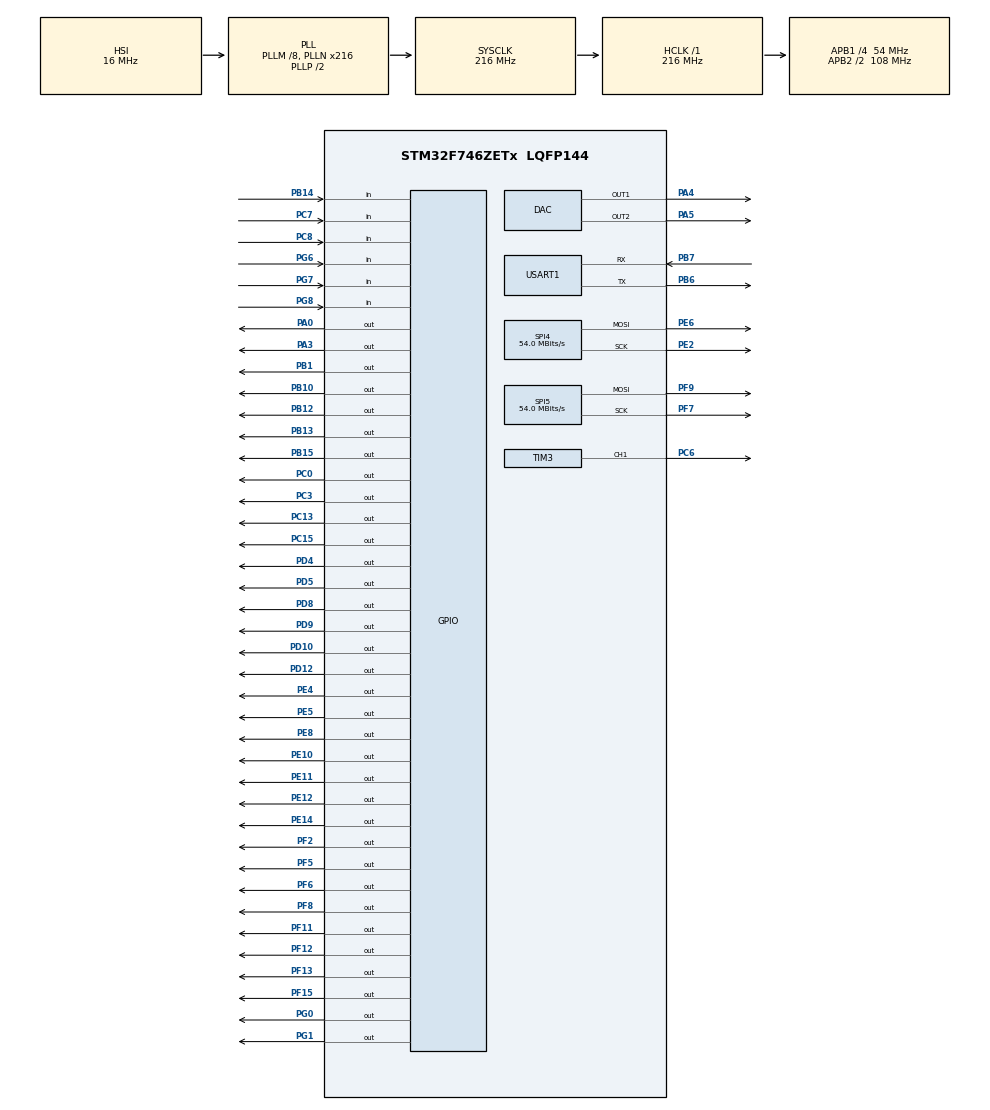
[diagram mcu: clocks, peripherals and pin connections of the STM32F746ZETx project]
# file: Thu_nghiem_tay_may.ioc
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Mcu.Family=STM32F7
Mcu.Name=STM32F746ZETx
Mcu.Package=LQFP144
NVIC.PriorityGroup=NVIC_PRIORITYGROUP_4
NVIC.TIM1_TRG_COM_TIM11_IRQn=true\:0\:0\:false\:false\:true\:true\:true\:true
NVIC.TIM1_UP_TIM10_IRQn=true\:0\:0\:false\:false\:true\:true\:true\:true
NVIC.TIM2_IRQn=true\:0\:0\:false\:false\:true\:true\:true\:true
NVIC.TIM3_IRQn=true\:0\:0\:false\:false\:true\:true\:true\:true
NVIC.TIM7_IRQn=true\:0\:0\:false\:false\:true\:true\:true\:true
NVIC.TIM8_TRG_COM_TIM14_IRQn=true\:0\:0\:false\:false\:true\:true\:true\:true
NVIC.TIM8_UP_TIM13_IRQn=true\:0\:0\:false\:false\:true\:true\:true\:true
NVIC.USART1_IRQn=true\:0\:0\:false\:false\:true\:true\:true\:true
PA0/WKUP.Signal=GPIO_Output
PA13.Mode=Serial_Wire
PA13.Signal=SYS_JTMS-SWDIO
PA14.Mode=Serial_Wire
PA14.Signal=SYS_JTCK-SWCLK
PA3.Signal=GPIO_Output
PA4.Signal=COMP_DAC1_group
PA5.Signal=COMP_DAC2_group
PB1.Signal=GPIO_Output
PB10.Signal=GPIO_Output
PB12.Signal=GPIO_Output
PB13.Signal=GPIO_Output
PB14.Signal=GPIO_Input
PB15.Signal=GPIO_Output
PB6.Mode=Asynchronous
PB6.Signal=USART1_TX
PB7.Mode=Asynchronous
PB7.Signal=USART1_RX
PC0.Signal=GPIO_Output
PC13.Signal=GPIO_Output
PC15/OSC32_OUT.Signal=GPIO_Output
PC3.Signal=GPIO_Output
PC6.Signal=S_TIM3_CH1
PC7.GPIO_PuPd=GPIO_PULLUP
PC7.Signal=GPIO_Input
PC8.GPIO_PuPd=GPIO_PULLUP
PC8.Signal=GPIO_Input
PD10.Signal=GPIO_Output
PD12.Signal=GPIO_Output
PD4.Signal=GPIO_Output
PD5.Signal=GPIO_Output
PD8.Signal=GPIO_Output
PD9.Signal=GPIO_Output
PE10.Signal=GPIO_Output
PE11.Signal=GPIO_Output
PE12.Signal=GPIO_Output
PE14.Signal=GPIO_Output
PE2.Mode=TX_Only_Simplex_Unidirect_Master
PE2.Signal=SPI4_SCK
PE4.PinState=GPIO_PIN_SET
PE4.Signal=GPIO_Output
PE5.PinState=GPIO_PIN_SET
PE5.Signal=GPIO_Output
PE6.Mode=TX_Only_Simplex_Unidirect_Master
PE6.Signal=SPI4_MOSI
PE8.Signal=GPIO_Output
PF11.Signal=GPIO_Output
PF12.Signal=GPIO_Output
PF13.Signal=GPIO_Output
PF15.Signal=GPIO_Output
PF2.Signal=GPIO_Output
PF5.Signal=GPIO_Output
PF6.PinState=GPIO_PIN_SET
PF6.Signal=GPIO_Output
PF7.Mode=TX_Only_Simplex_Unidirect_Master
PF7.Signal=SPI5_SCK
PF8.PinState=GPIO_PIN_SET
PF8.Signal=GPIO_Output
PF9.Mode=TX_Only_Simplex_Unidirect_Master
PF9.Signal=SPI5_MOSI
PG0.Signal=GPIO_Output
PG1.Signal=GPIO_Output
PG6.GPIO_PuPd=GPIO_PULLUP
PG6.Signal=GPIO_Input
PG7.GPIO_PuPd=GPIO_PULLUP
PG7.Signal=GPIO_Input
PG8.GPIO_PuPd=GPIO_PULLUP
PG8.Signal=GPIO_Input
PH0/OSC_IN.Mode=HSE-External-Oscillator
PH0/OSC_IN.Signal=RCC_OSC_IN
PH1/OSC_OUT.Mode=HSE-External-Oscillator
PH1/OSC_OUT.Signal=RCC_OSC_OUT
ProjectManager.HeapSize=0x200
ProjectManager.StackSize=0x400
ProjectManager.TargetToolchain=MDK-ARM V5
RCC.AHBFreq_Value=216000000
RCC.APB1CLKDivider=RCC_HCLK_DIV4
RCC.APB1Freq_Value=54000000
RCC.APB1TimFreq_Value=108000000
RCC.APB2CLKDivider=RCC_HCLK_DIV2
RCC.APB2Freq_Value=108000000
RCC.APB2TimFreq_Value=216000000
RCC.CortexFreq_Value=216000000
RCC.HCLKFreq_Value=216000000
RCC.HSE_VALUE=25000000
RCC.HSI_VALUE=16000000
RCC.LSE_VALUE=32768
RCC.PLLM=8
RCC.PLLN=216
RCC.SYSCLKFreq_VALUE=216000000
RCC.SYSCLKSource=RCC_SYSCLKSOURCE_PLLCLK
RCC.USBFreq_Value=216000000
RCC.VCOOutputFreq_Value=432000000
SH.COMP_DAC1_group.0=DAC_OUT1,DAC_OUT1
SH.COMP_DAC2_group.0=DAC_OUT2,DAC_OUT2
SH.S_TIM3_CH1.0=TIM3_CH1,PWM Generation1 CH1
SPI4.CalculateBaudRate=54.0 MBits/s
SPI4.DataSize=SPI_DATASIZE_16BIT
SPI4.Direction=SPI_DIRECTION_2LINES
SPI4.Mode=SPI_MODE_MASTER
SPI4.VirtualType=VM_MASTER
SPI5.CalculateBaudRate=54.0 MBits/s
SPI5.DataSize=SPI_DATASIZE_16BIT
SPI5.Direction=SPI_DIRECTION_2LINES
SPI5.Mode=SPI_MODE_MASTER
SPI5.VirtualType=VM_MASTER
TIM10.Prescaler=72-1
TIM11.Prescaler=72-1
TIM13.Prescaler=72-1
TIM14.Prescaler=72-1
TIM2.Period=65535
TIM2.Prescaler=72-1
TIM3.Channel-PWM\ Generation1\ CH1=TIM_CHANNEL_1
TIM3.Period=1000-1
TIM3.Prescaler=2160-1
TIM6.Period=65535
TIM6.Prescaler=215
TIM7.Prescaler=72-1
USART1.VirtualMode-Asynchronous=VM_ASYNC
VP_TIM10_VS_ClockSourceINT.Mode=Enable_Timer
VP_TIM11_VS_ClockSourceINT.Mode=Enable_Timer
VP_TIM13_VS_ClockSourceINT.Mode=Enable_Timer
VP_TIM14_VS_ClockSourceINT.Mode=Enable_Timer
VP_TIM2_VS_ClockSourceINT.Mode=Internal
VP_TIM3_VS_ClockSourceINT.Mode=Internal
VP_TIM6_VS_ClockSourceINT.Mode=Enable_Timer
VP_TIM7_VS_ClockSourceINT.Mode=Enable_Timer
board=custom

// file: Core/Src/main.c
/* USER CODE BEGIN Header */
/**
  ******************************************************************************
  * @file           : main.c
  * @brief          : Main program body
  ******************************************************************************
  * @attention
  *
  * Copyright (c) 2022 STMicroelectronics.
  * All rights reserved.
  *
  * This software is licensed under terms that can be found in the LICENSE file
  * in the root directory of this software component.
  * If no LICENSE file comes with this software, it is provided AS-IS.
  *
  ******************************************************************************
  */
/* USER CODE END Header */
#include "main.h"

/* USER CODE BEGIN Includes */
#include "Step_motor.h"
#include "UART.h"
#include "Invert_Kinematic.h"
/* USER CODE END Includes */

DAC_HandleTypeDef hdac;

SPI_HandleTypeDef hspi4;
SPI_HandleTypeDef hspi5;

TIM_HandleTypeDef htim2;
TIM_HandleTypeDef htim3;
TIM_HandleTypeDef htim6;
TIM_HandleTypeDef htim7;
TIM_HandleTypeDef htim10;
TIM_HandleTypeDef htim11;
TIM_HandleTypeDef htim13;
TIM_HandleTypeDef htim14;

UART_HandleTypeDef huart1;

void SystemClock_Config(void);
static void MX_GPIO_Init(void);
static void MX_DAC_Init(void);
static void MX_TIM2_Init(void);
static void MX_TIM6_Init(void);
static void MX_TIM7_Init(void);
static void MX_TIM10_Init(void);
static void MX_TIM11_Init(void);
static void MX_TIM13_Init(void);
static void MX_TIM14_Init(void);
static void MX_SPI4_Init(void);
static void MX_SPI5_Init(void);
static void MX_USART1_UART_Init(void);
static void MX_TIM3_Init(void);

/* USER CODE BEGIN 0 */
extern Uart1 pUart;
extern float T06[4][4];
extern float TCV[4][4] ;      // ma tran vi trí cua vat so voi camera
extern float T6C[4][4] ;    // ma tran dông nhat c?a camera so voi khop 6
extern float T0V[4][4];     // ma tran dông nhat cua vat so voi goc toa dô
extern float T6V[4][4] ;
extern Robot pRobot;
extern Motion mProfile[10];
extern Stepper StepVar[6];
extern void delay_us(uint16_t cnt);
void HAL_UART_RxCpltCallback(UART_HandleTypeDef *huart){
	if(huart->Instance == huart1.Instance){
	   Uart_Read(&pUart,&huart1);
		if(pUart.state == Process)
		{
				for(int i =0 ; i < 4; i++){
        for(int j =0 ; j < 3; j++){
           if( i ==j)
       TCV[i][j] = 1;
           else
	    TCV[i][j] = 0;
				 }
			 }
			int8_t bien1,bien2,bien3;
      bien1     =  (pUart.Rx_buff[10]  <<8 ) + pUart.Rx_buff[9];
      bien2     =  (pUart.Rx_buff[12] <<8 ) + pUart.Rx_buff[11];
			bien3     =  (pUart.Rx_buff[14] <<8 ) + pUart.Rx_buff[13];
			TCV[0][3] = ((float)bien1/1000);
			TCV[1][3] = ((float)bien2/1000);
			TCV[2][3] = ((float)bien3/1000);
			TCV[3][3] = 1;
			pUart.Flag = 1;
			pUart.Pointer = 0;
			for(int i =0 ; i<16 ; i++){
				pUart.Rx_buff[i] = 0;}
		}
		HAL_UART_Receive_IT(&huart1,(uint8_t *)&pUart.Rx_data,1);
		}
}
void HAL_TIM_PeriodElapsedCallback(TIM_HandleTypeDef *htim){
   if(htim->Instance == htim2.Instance)
	{
		if(StepVar[M1].state == stRUN)
		{
	    Stepper_Control(M1,&htim2);
		}
	}
	if(htim->Instance == htim7.Instance)
	{
		if(StepVar[M2].state == stRUN)
		{
	    Stepper_Control(M2,&htim7);
		}
	}
	if(htim->Instance == htim10.Instance)
	{
		if(StepVar[M3].state == stRUN)
		{
	    Stepper_Control(M3,&htim10);
		}
	}
	if(htim->Instance == htim11.Instance)
	{
		if(StepVar[M4].state == stRUN)
		{
	    Stepper_Control(M4,&htim11);
		}
	}
	if(htim->Instance == htim13.Instance)
	{
		if(StepVar[M5].state == stRUN)
		{
	    Stepper_Control(M5,&htim13);
		}
	}
	if(htim->Instance == htim14.Instance)
	{
		if(StepVar[M6].state == stRUN)
		{
	    Stepper_Control(M6,&htim14);
		}
		}
}
/* USER CODE END 0 */

int main(void)
{

  /* MCU Configuration--------------------------------------------------------*/

  /* Reset of all peripherals, Initializes the Flash interface and the Systick. */
  HAL_Init();

  /* Configure the system clock */
  SystemClock_Config();

  /* Initialize all configured peripherals */
  MX_GPIO_Init();
  MX_DAC_Init();
  MX_TIM2_Init();
  MX_TIM6_Init();
  MX_TIM7_Init();
  MX_TIM10_Init();
  MX_TIM11_Init();
  MX_TIM13_Init();
  MX_TIM14_Init();
  MX_SPI4_Init();
  MX_SPI5_Init();
  MX_USART1_UART_Init();
  MX_TIM3_Init();
  /* USER CODE BEGIN 2 */
   HAL_TIM_Base_Start_IT(&htim2);
	 HAL_TIM_Base_Start_IT(&htim7);
	 HAL_TIM_Base_Start_IT(&htim10);
	 HAL_TIM_Base_Start_IT(&htim11);
	 HAL_TIM_Base_Start_IT(&htim13);
	 HAL_TIM_Base_Start_IT(&htim14);
	 HAL_TIM_Base_Start(&htim6);
	 HAL_TIM_PWM_Start(&htim3,TIM_CHANNEL_1);
	 HAL_DAC_Start(&hdac,DAC_CHANNEL_1);
   HAL_DAC_Start(&hdac,DAC_CHANNEL_2);

	 HAL_UART_Receive_IT(&huart1,(uint8_t *)&pUart.Rx_data,1);
	 Uart_Init(&pUart);
	 Robot_Init(&pRobot);
//   Stepper_Init(1.8,Micro_1_32,mPOSITION,3,M1);
//   Stepper_Init(1.8,Micro_1_32,mPOSITION,50,M2);
//   Stepper_Init(1.8,Micro_1_32,mPOSITION,50,M3);
//   Stepper_Init(1.8,Micro_1_32,mPOSITION,14,M4);
//   Stepper_Init(1.8,Micro_1_32,mPOSITION,40.2,M5);
//   Stepper_Init(1.8,Micro_1_32,mPOSITION,1,M6);
Stepper_Init(1.8,Micro_1_32,mPOSITION,50,M1);        //dco2
Stepper_Init(1.8,Micro_1_32,mPOSITION,50,M2);        //dco3
Stepper_Init(1.8,Micro_1_32,mPOSITION,1,M3);
Stepper_Init(1.8,Micro_1_32,mPOSITION,14,M4);        //dco4
Stepper_Init(1.8,Micro_1_32,mPOSITION,1,M5);       //dco5  50
Stepper_Init(1.8,Micro_1_32,mPOSITION,3,M6);   // dco1

//MotionProfile_Set(M1,50,50,300,133);  //10,10,30,-90,1.2,1     -120
//Motor_run(M1);

//////////// ***STEP2***/
//MotionProfile_Set(M2,50,50,170,86);   // 20 de ve vi tri //
//Motor_run(M2);

//////// ***STEP3***/
////////
MotionProfile_Set(M3,50,50,20,90);
Motor_run(M3);

//////// ***STEP4***/
////////
//MotionProfile_Set(M4,10,10,50,90);
//Motor_run(M4);

////// // ***STEP5***/
MotionProfile_Set(M5,10,10,30,90);    //
Motor_run(M5);

//////// ***STEP6***/
//MotionProfile_Set(M6,50,50,40,96);   //10,10,50,-183,2,1.5
//Motor_run(M6);

  /* USER CODE END 2 */

  /* Infinite loop */
  while (1)
  {

    /* USER CODE BEGIN 3 */
	//	HAL_GPIO_WritePin(GPIOD,GPIO_PIN_4,1);

//  if( pUart.Flag == 0x01)
//	{
//
//		MatrixMultiply(TCV,T6C,T6V);
//		MatrixMultiply(T6V,T06,T0V);
//		Invert_Kinematic(&pRobot);
//		Convert_Angle(&pRobot);
//		for(int i = M1 ; i<= M6; i++)
//		{
//			if(pRobot.Q[i]>1000)
//				pRobot.Q[i] = 0;
//			MotionProfile_Set(i,10,10,200,pRobot.Q[i]);
//      Motor_run(i);
//		}
//		pUart.state = Ready;
//		pUart.Flag = 0;
//	}
//if(StepVar[M1].count == 1 && StepVar[M1].PosFlag ==1 && StepVar[M2].PosFlag ==1 &&StepVar[M2].count == 1&& StepVar[M4].PosFlag ==1 &&StepVar[M4].count == 1
//&& StepVar[M5].PosFlag ==1 &&StepVar[M5].count == 1&& StepVar[M6].PosFlag ==1 &&StepVar[M6].count == 1){
//		HAL_GPIO_WritePin(GPIOD,GPIO_PIN_4,1);
//htim3.Instance->CCR1 = 35;  // 0do
//HAL_Delay(5000);
//htim3.Instance->CCR1 = 112; // 120 do
//HAL_Delay(1000);
//MotionProfile_Set(M1,50,50,-300,-133);
//Motor_run(M1);
//MotionProfile_Set(M2,50,50,-170,90);
//Motor_run(M2);
//MotionProfile_Set(M4,10,10,-50,-94);
//Motor_run(M4);
//MotionProfile_Set(M5,10,10,-30,5);
//Motor_run(M5);
//MotionProfile_Set(M6,50,50,-50,96);
//Motor_run(M6);
//	}
//}

if( pUart.Flag == 0x01){

	 MotionProfile_Set(M1,50,50,300,-133);  //10,10,30,-90,1.2,1     -120
 Stepper_StateRst(M1);
 MotionVar_Prepare(M1);
 Stepper_Start(M1,&htim2);

////////// ***STEP2***/
MotionProfile_Set(M2,50,50,170,86);   // 20 de ve vi tri //
Stepper_StateRst(M2);
MotionVar_Prepare(M2);
Stepper_Start(M2,&htim7);

////// ***STEP3***/
//////
 MotionProfile_Set(M3,50,50,1,93);
 Stepper_StateRst(M3);
 MotionVar_Prepare(M3);
 Stepper_Start(M3,&htim10);

////// ***STEP4***/
//////
 MotionProfile_Set(M4,10,10,50,1);
 Stepper_StateRst(M4);
 MotionVar_Prepare(M4);
 Stepper_Start(M4,&htim11);

//// // ***STEP5***/
// MotionProfile_Set(M5,10,10,30,5,1.5,1);    //
// Stepper_StateRst(M5);
// MotionVar_Prepare(M5);
// Stepper_Start(M5,&htim13);

////// ***STEP6***/
 MotionProfile_Set(M6,50,50,40,96);   //10,10,50,-183,2,1.5
 Stepper_StateRst(M6);
 MotionVar_Prepare(M6);
 Stepper_Start(M6,&htim14);
htim3.Instance->CCR1 = 112;
 pUart.Flag = 0x00;
}

//if(StepVar[M1].count == 1 && StepVar[M1].PosFlag ==1 && StepVar[M2].PosFlag ==1 &&StepVar[M2].count == 1
//&&StepVar[M6].PosFlag ==1 &&StepVar[M6].count == 1){
//htim3.Instance->CCR1 = 35;  // 0do
//HAL_Delay(3000);
////htim3.Instance->CCR1 = 75;  // 90 do
////HAL_Delay(1000);
//	reset(M1);
//// MotionProfile_Set(M1,50,50,300,133,1.5,2);  //10,10,30,-90,1.2,1     -120
//// Stepper_StateRst(M1);
//// MotionVar_Prepare(M1);
//// Stepper_Start(M1,&htim2);
// MotionProfile_Set(M1,50,50,300,30);  //10,10,30,-90,1.2,1     -120
// Stepper_StateRst(M1);
// MotionVar_Prepare(M1);
// Stepper_Start(M1,&htim2);

//////// ***STEP2***/
////	reset(M2);
////MotionProfile_Set(M2,50,50,170,-70,2.4,2.4);   // 20 de ve vi tri //
////Stepper_StateRst(M2);
////MotionVar_Prepare(M2);
////Stepper_Start(M2,&htim7);
//
//MotionProfile_Set(M2,50,50,170,-10);   // 20 de ve vi tri //
//Stepper_StateRst(M2);
//MotionVar_Prepare(M2);
//Stepper_Start(M2,&htim7);

//	reset(M6);
//MotionProfile_Set(M6,20,20,40,-186);   //10,10,50,-183,2,1.5
// Stepper_StateRst(M6);
// MotionVar_Prepare(M6);
// Stepper_Start(M6,&htim14);
//}
//if(StepVar[M1].count == 2 && StepVar[M1].PosFlag ==1 && StepVar[M2].PosFlag ==1 &&StepVar[M2].count == 2&&StepVar[M6].count == 2 && StepVar[M6].PosFlag ==1
//){
//	HAL_Delay(2000);
//	htim3.Instance->CCR1 = 112; // 180 do
//	HAL_Delay(2000);
//	htim3.Instance->CCR1 = 35;  //0 do
//	HAL_Delay(1000);
//	reset(M1);
//	MotionProfile_Set(M1,50,50,300,96);  //10,10,30,-90,1.2,1     -120
// Stepper_StateRst(M1);
// MotionVar_Prepare(M1);
// Stepper_Start(M1,&htim2);
//
//	reset(M2);
// MotionProfile_Set(M2,50,50,170,-65);   // 20 de ve vi tri //
//Stepper_StateRst(M2);
//MotionVar_Prepare(M2);
//Stepper_Start(M2,&htim7);
//	reset(M6);
// MotionProfile_Set(M6,20,20,30,77);   //10,10,50,-183,2,1.5
// Stepper_StateRst(M6);
// MotionVar_Prepare(M6);
// Stepper_Start(M6,&htim14);
//}
  /* USER CODE END 3 */
}
}
void SystemClock_Config(void)
{
  RCC_OscInitTypeDef RCC_OscInitStruct = {0};
  RCC_ClkInitTypeDef RCC_ClkInitStruct = {0};

  /** Configure the main internal regulator output voltage
  */
  __HAL_RCC_PWR_CLK_ENABLE();
  __HAL_PWR_VOLTAGESCALING_CONFIG(PWR_REGULATOR_VOLTAGE_SCALE1);

  /** Initializes the RCC Oscillators according to the specified parameters
  * in the RCC_OscInitTypeDef structure.
  */
  RCC_OscInitStruct.OscillatorType = RCC_OSCILLATORTYPE_HSI;
  RCC_OscInitStruct.HSIState = RCC_HSI_ON;
  RCC_OscInitStruct.HSICalibrationValue = RCC_HSICALIBRATION_DEFAULT;
  RCC_OscInitStruct.PLL.PLLState = RCC_PLL_ON;
  RCC_OscInitStruct.PLL.PLLSource = RCC_PLLSOURCE_HSI;
  RCC_OscInitStruct.PLL.PLLM = 8;
  RCC_OscInitStruct.PLL.PLLN = 216;
  RCC_OscInitStruct.PLL.PLLP = RCC_PLLP_DIV2;
  RCC_OscInitStruct.PLL.PLLQ = 2;
  if (HAL_RCC_OscConfig(&RCC_OscInitStruct) != HAL_OK)
  {
    Error_Handler();
  }

  /** Activate the Over-Drive mode
  */
  if (HAL_PWREx_EnableOverDrive() != HAL_OK)
  {
    Error_Handler();
  }

  /** Initializes the CPU, AHB and APB buses clocks
  */
  RCC_ClkInitStruct.ClockType = RCC_CLOCKTYPE_HCLK|RCC_CLOCKTYPE_SYSCLK
                              |RCC_CLOCKTYPE_PCLK1|RCC_CLOCKTYPE_PCLK2;
  RCC_ClkInitStruct.SYSCLKSource = RCC_SYSCLKSOURCE_PLLCLK;
  RCC_ClkInitStruct.AHBCLKDivider = RCC_SYSCLK_DIV1;
  RCC_ClkInitStruct.APB1CLKDivider = RCC_HCLK_DIV4;
  RCC_ClkInitStruct.APB2CLKDivider = RCC_HCLK_DIV2;

  if (HAL_RCC_ClockConfig(&RCC_ClkInitStruct, FLASH_LATENCY_7) != HAL_OK)
  {
    Error_Handler();
  }
}

static void MX_DAC_Init(void)
{

  DAC_ChannelConfTypeDef sConfig = {0};

  /** DAC Initialization
  */
  hdac.Instance = DAC;
  if (HAL_DAC_Init(&hdac) != HAL_OK)
  {
    Error_Handler();
  }

  /** DAC channel OUT1 config
  */
  sConfig.DAC_Trigger = DAC_TRIGGER_NONE;
  sConfig.DAC_OutputBuffer = DAC_OUTPUTBUFFER_ENABLE;
  if (HAL_DAC_ConfigChannel(&hdac, &sConfig, DAC_CHANNEL_1) != HAL_OK)
  {
    Error_Handler();
  }

  /** DAC channel OUT2 config
  */
  if (HAL_DAC_ConfigChannel(&hdac, &sConfig, DAC_CHANNEL_2) != HAL_OK)
  {
    Error_Handler();
  }

}

static void MX_SPI4_Init(void)
{

  /* SPI4 parameter configuration*/
  hspi4.Instance = SPI4;
  hspi4.Init.Mode = SPI_MODE_MASTER;
  hspi4.Init.Direction = SPI_DIRECTION_2LINES;
  hspi4.Init.DataSize = SPI_DATASIZE_16BIT;
  hspi4.Init.CLKPolarity = SPI_POLARITY_LOW;
  hspi4.Init.CLKPhase = SPI_PHASE_1EDGE;
  hspi4.Init.NSS = SPI_NSS_SOFT;
  hspi4.Init.BaudRatePrescaler = SPI_BAUDRATEPRESCALER_2;
  hspi4.Init.FirstBit = SPI_FIRSTBIT_MSB;
  hspi4.Init.TIMode = SPI_TIMODE_DISABLE;
  hspi4.Init.CRCCalculation = SPI_CRCCALCULATION_DISABLE;
  hspi4.Init.CRCPolynomial = 7;
  hspi4.Init.CRCLength = SPI_CRC_LENGTH_DATASIZE;
  hspi4.Init.NSSPMode = SPI_NSS_PULSE_ENABLE;
  if (HAL_SPI_Init(&hspi4) != HAL_OK)
  {
    Error_Handler();
  }

}

static void MX_SPI5_Init(void)
{

  /* SPI5 parameter configuration*/
  hspi5.Instance = SPI5;
  hspi5.Init.Mode = SPI_MODE_MASTER;
  hspi5.Init.Direction = SPI_DIRECTION_2LINES;
  hspi5.Init.DataSize = SPI_DATASIZE_16BIT;
  hspi5.Init.CLKPolarity = SPI_POLARITY_LOW;
  hspi5.Init.CLKPhase = SPI_PHASE_1EDGE;
  hspi5.Init.NSS = SPI_NSS_SOFT;
  hspi5.Init.BaudRatePrescaler = SPI_BAUDRATEPRESCALER_2;
  hspi5.Init.FirstBit = SPI_FIRSTBIT_MSB;
  hspi5.Init.TIMode = SPI_TIMODE_DISABLE;
  hspi5.Init.CRCCalculation = SPI_CRCCALCULATION_DISABLE;
  hspi5.Init.CRCPolynomial = 7;
  hspi5.Init.CRCLength = SPI_CRC_LENGTH_DATASIZE;
  hspi5.Init.NSSPMode = SPI_NSS_PULSE_ENABLE;
  if (HAL_SPI_Init(&hspi5) != HAL_OK)
  {
    Error_Handler();
  }

}

static void MX_TIM2_Init(void)
{

  TIM_ClockConfigTypeDef sClockSourceConfig = {0};
  TIM_MasterConfigTypeDef sMasterConfig = {0};

  htim2.Instance = TIM2;
  htim2.Init.Prescaler = 72-1;
  htim2.Init.CounterMode = TIM_COUNTERMODE_UP;
  htim2.Init.Period = 65535;
  htim2.Init.ClockDivision = TIM_CLOCKDIVISION_DIV1;
  htim2.Init.AutoReloadPreload = TIM_AUTORELOAD_PRELOAD_DISABLE;
  if (HAL_TIM_Base_Init(&htim2) != HAL_OK)
  {
    Error_Handler();
  }
  sClockSourceConfig.ClockSource = TIM_CLOCKSOURCE_INTERNAL;
  if (HAL_TIM_ConfigClockSource(&htim2, &sClockSourceConfig) != HAL_OK)
  {
    Error_Handler();
  }
  sMasterConfig.MasterOutputTrigger = TIM_TRGO_RESET;
  sMasterConfig.MasterSlaveMode = TIM_MASTERSLAVEMODE_DISABLE;
  if (HAL_TIMEx_MasterConfigSynchronization(&htim2, &sMasterConfig) != HAL_OK)
  {
    Error_Handler();
  }

}

static void MX_TIM3_Init(void)
{

  TIM_ClockConfigTypeDef sClockSourceConfig = {0};
  TIM_MasterConfigTypeDef sMasterConfig = {0};
  TIM_OC_InitTypeDef sConfigOC = {0};

  htim3.Instance = TIM3;
  htim3.Init.Prescaler = 2160-1;
  htim3.Init.CounterMode = TIM_COUNTERMODE_UP;
  htim3.Init.Period = 1000-1;
  htim3.Init.ClockDivision = TIM_CLOCKDIVISION_DIV1;
  htim3.Init.AutoReloadPreload = TIM_AUTORELOAD_PRELOAD_DISABLE;
  if (HAL_TIM_Base_Init(&htim3) != HAL_OK)
  {
    Error_Handler();
  }
  sClockSourceConfig.ClockSource = TIM_CLOCKSOURCE_INTERNAL;
  if (HAL_TIM_ConfigClockSource(&htim3, &sClockSourceConfig) != HAL_OK)
  {
    Error_Handler();
  }
  if (HAL_TIM_PWM_Init(&htim3) != HAL_OK)
  {
    Error_Handler();
  }
  sMasterConfig.MasterOutputTrigger = TIM_TRGO_RESET;
  sMasterConfig.MasterSlaveMode = TIM_MASTERSLAVEMODE_DISABLE;
  if (HAL_TIMEx_MasterConfigSynchronization(&htim3, &sMasterConfig) != HAL_OK)
  {
    Error_Handler();
  }
  sConfigOC.OCMode = TIM_OCMODE_PWM1;
  sConfigOC.Pulse = 0;
  sConfigOC.OCPolarity = TIM_OCPOLARITY_HIGH;
  sConfigOC.OCFastMode = TIM_OCFAST_DISABLE;
  if (HAL_TIM_PWM_ConfigChannel(&htim3, &sConfigOC, TIM_CHANNEL_1) != HAL_OK)
  {
    Error_Handler();
  }
  HAL_TIM_MspPostInit(&htim3);

}

static void MX_TIM6_Init(void)
{

  TIM_MasterConfigTypeDef sMasterConfig = {0};

  htim6.Instance = TIM6;
  htim6.Init.Prescaler = 215;
  htim6.Init.CounterMode = TIM_COUNTERMODE_UP;
  htim6.Init.Period = 65535;
  htim6.Init.AutoReloadPreload = TIM_AUTORELOAD_PRELOAD_DISABLE;
  if (HAL_TIM_Base_Init(&htim6) != HAL_OK)
  {
    Error_Handler();
  }
  sMasterConfig.MasterOutputTrigger = TIM_TRGO_RESET;
  sMasterConfig.MasterSlaveMode = TIM_MASTERSLAVEMODE_DISABLE;
  if (HAL_TIMEx_MasterConfigSynchronization(&htim6, &sMasterConfig) != HAL_OK)
  {
    Error_Handler();
  }

}

static void MX_TIM7_Init(void)
{

  TIM_MasterConfigTypeDef sMasterConfig = {0};

  htim7.Instance = TIM7;
  htim7.Init.Prescaler = 72-1;
  htim7.Init.CounterMode = TIM_COUNTERMODE_UP;
  htim7.Init.Period = 65535;
  htim7.Init.AutoReloadPreload = TIM_AUTORELOAD_PRELOAD_DISABLE;
  if (HAL_TIM_Base_Init(&htim7) != HAL_OK)
  {
    Error_Handler();
  }
  sMasterConfig.MasterOutputTrigger = TIM_TRGO_RESET;
  sMasterConfig.MasterSlaveMode = TIM_MASTERSLAVEMODE_DISABLE;
  if (HAL_TIMEx_MasterConfigSynchronization(&htim7, &sMasterConfig) != HAL_OK)
  {
    Error_Handler();
  }

}

static void MX_TIM10_Init(void)
{

  htim10.Instance = TIM10;
  htim10.Init.Prescaler = 72-1;
  htim10.Init.CounterMode = TIM_COUNTERMODE_UP;
  htim10.Init.Period = 65535;
  htim10.Init.ClockDivision = TIM_CLOCKDIVISION_DIV1;
  htim10.Init.AutoReloadPreload = TIM_AUTORELOAD_PRELOAD_DISABLE;
  if (HAL_TIM_Base_Init(&htim10) != HAL_OK)
  {
    Error_Handler();
  }

}

static void MX_TIM11_Init(void)
{

  htim11.Instance = TIM11;
  htim11.Init.Prescaler = 72-1;
  htim11.Init.CounterMode = TIM_COUNTERMODE_UP;
  htim11.Init.Period = 65535;
  htim11.Init.ClockDivision = TIM_CLOCKDIVISION_DIV1;
  htim11.Init.AutoReloadPreload = TIM_AUTORELOAD_PRELOAD_DISABLE;
  if (HAL_TIM_Base_Init(&htim11) != HAL_OK)
  {
    Error_Handler();
  }

}

static void MX_TIM13_Init(void)
{

  htim13.Instance = TIM13;
  htim13.Init.Prescaler = 72-1;
  htim13.Init.CounterMode = TIM_COUNTERMODE_UP;
  htim13.Init.Period = 65535;
  htim13.Init.ClockDivision = TIM_CLOCKDIVISION_DIV1;
  htim13.Init.AutoReloadPreload = TIM_AUTORELOAD_PRELOAD_DISABLE;
  if (HAL_TIM_Base_Init(&htim13) != HAL_OK)
  {
    Error_Handler();
  }

}

static void MX_TIM14_Init(void)
{

  htim14.Instance = TIM14;
  htim14.Init.Prescaler = 72-1;
  htim14.Init.CounterMode = TIM_COUNTERMODE_UP;
  htim14.Init.Period = 65535;
  htim14.Init.ClockDivision = TIM_CLOCKDIVISION_DIV1;
  htim14.Init.AutoReloadPreload = TIM_AUTORELOAD_PRELOAD_DISABLE;
  if (HAL_TIM_Base_Init(&htim14) != HAL_OK)
  {
    Error_Handler();
  }

}

static void MX_USART1_UART_Init(void)
{

  huart1.Instance = USART1;
  huart1.Init.BaudRate = 115200;
  huart1.Init.WordLength = UART_WORDLENGTH_8B;
  huart1.Init.StopBits = UART_STOPBITS_1;
  huart1.Init.Parity = UART_PARITY_NONE;
  huart1.Init.Mode = UART_MODE_TX_RX;
  huart1.Init.HwFlowCtl = UART_HWCONTROL_NONE;
  huart1.Init.OverSampling = UART_OVERSAMPLING_16;
  huart1.Init.OneBitSampling = UART_ONE_BIT_SAMPLE_DISABLE;
  huart1.AdvancedInit.AdvFeatureInit = UART_ADVFEATURE_NO_INIT;
  if (HAL_UART_Init(&huart1) != HAL_OK)
  {
    Error_Handler();
  }

}

static void MX_GPIO_Init(void)
{
  GPIO_InitTypeDef GPIO_InitStruct = {0};

  /* GPIO Ports Clock Enable */
  __HAL_RCC_GPIOE_CLK_ENABLE();
  __HAL_RCC_GPIOC_CLK_ENABLE();
  __HAL_RCC_GPIOF_CLK_ENABLE();
  __HAL_RCC_GPIOH_CLK_ENABLE();
  __HAL_RCC_GPIOA_CLK_ENABLE();
  __HAL_RCC_GPIOB_CLK_ENABLE();
  __HAL_RCC_GPIOG_CLK_ENABLE();
  __HAL_RCC_GPIOD_CLK_ENABLE();

  /*Configure GPIO pin Output Level */
  HAL_GPIO_WritePin(GPIOE, GPIO_PIN_4|GPIO_PIN_5, GPIO_PIN_SET);

  /*Configure GPIO pin Output Level */
  HAL_GPIO_WritePin(GPIOC, GPIO_PIN_13|GPIO_PIN_15|GPIO_PIN_0|GPIO_PIN_3, GPIO_PIN_RESET);

  /*Configure GPIO pin Output Level */
  HAL_GPIO_WritePin(GPIOF, GPIO_PIN_2|GPIO_PIN_5|GPIO_PIN_11|GPIO_PIN_12
                          |GPIO_PIN_13|GPIO_PIN_15, GPIO_PIN_RESET);

  /*Configure GPIO pin Output Level */
  HAL_GPIO_WritePin(GPIOF, GPIO_PIN_6|GPIO_PIN_8, GPIO_PIN_SET);

  /*Configure GPIO pin Output Level */
  HAL_GPIO_WritePin(GPIOA, GPIO_PIN_0|GPIO_PIN_3, GPIO_PIN_RESET);

  /*Configure GPIO pin Output Level */
  HAL_GPIO_WritePin(GPIOB, GPIO_PIN_1|GPIO_PIN_10|GPIO_PIN_12|GPIO_PIN_13
                          |GPIO_PIN_15, GPIO_PIN_RESET);

  /*Configure GPIO pin Output Level */
  HAL_GPIO_WritePin(GPIOG, GPIO_PIN_0|GPIO_PIN_1, GPIO_PIN_RESET);

  /*Configure GPIO pin Output Level */
  HAL_GPIO_WritePin(GPIOE, GPIO_PIN_8|GPIO_PIN_10|GPIO_PIN_11|GPIO_PIN_12
                          |GPIO_PIN_14, GPIO_PIN_RESET);

  /*Configure GPIO pin Output Level */
  HAL_GPIO_WritePin(GPIOD, GPIO_PIN_8|GPIO_PIN_9|GPIO_PIN_10|GPIO_PIN_12
                          |GPIO_PIN_4|GPIO_PIN_5, GPIO_PIN_RESET);

  /*Configure GPIO pins : PE4 PE5 PE8 PE10
                           PE11 PE12 PE14 */
  GPIO_InitStruct.Pin = GPIO_PIN_4|GPIO_PIN_5|GPIO_PIN_8|GPIO_PIN_10
                          |GPIO_PIN_11|GPIO_PIN_12|GPIO_PIN_14;
  GPIO_InitStruct.Mode = GPIO_MODE_OUTPUT_PP;
  GPIO_InitStruct.Pull = GPIO_NOPULL;
  GPIO_InitStruct.Speed = GPIO_SPEED_FREQ_LOW;
  HAL_GPIO_Init(GPIOE, &GPIO_InitStruct);

  /*Configure GPIO pins : PC13 PC15 PC0 PC3 */
  GPIO_InitStruct.Pin = GPIO_PIN_13|GPIO_PIN_15|GPIO_PIN_0|GPIO_PIN_3;
  GPIO_InitStruct.Mode = GPIO_MODE_OUTPUT_PP;
  GPIO_InitStruct.Pull = GPIO_NOPULL;
  GPIO_InitStruct.Speed = GPIO_SPEED_FREQ_LOW;
  HAL_GPIO_Init(GPIOC, &GPIO_InitStruct);

  /*Configure GPIO pins : PF2 PF5 PF6 PF8
                           PF11 PF12 PF13 PF15 */
  GPIO_InitStruct.Pin = GPIO_PIN_2|GPIO_PIN_5|GPIO_PIN_6|GPIO_PIN_8
                          |GPIO_PIN_11|GPIO_PIN_12|GPIO_PIN_13|GPIO_PIN_15;
  GPIO_InitStruct.Mode = GPIO_MODE_OUTPUT_PP;
  GPIO_InitStruct.Pull = GPIO_NOPULL;
  GPIO_InitStruct.Speed = GPIO_SPEED_FREQ_LOW;
  HAL_GPIO_Init(GPIOF, &GPIO_InitStruct);

  /*Configure GPIO pins : PA0 PA3 */
  GPIO_InitStruct.Pin = GPIO_PIN_0|GPIO_PIN_3;
  GPIO_InitStruct.Mode = GPIO_MODE_OUTPUT_PP;
  GPIO_InitStruct.Pull = GPIO_NOPULL;
  GPIO_InitStruct.Speed = GPIO_SPEED_FREQ_LOW;
  HAL_GPIO_Init(GPIOA, &GPIO_InitStruct);

  /*Configure GPIO pins : PB1 PB10 PB12 PB13
                           PB15 */
  GPIO_InitStruct.Pin = GPIO_PIN_1|GPIO_PIN_10|GPIO_PIN_12|GPIO_PIN_13
                          |GPIO_PIN_15;
  GPIO_InitStruct.Mode = GPIO_MODE_OUTPUT_PP;
  GPIO_InitStruct.Pull = GPIO_NOPULL;
  GPIO_InitStruct.Speed = GPIO_SPEED_FREQ_LOW;
  HAL_GPIO_Init(GPIOB, &GPIO_InitStruct);

  /*Configure GPIO pins : PG0 PG1 */
  GPIO_InitStruct.Pin = GPIO_PIN_0|GPIO_PIN_1;
  GPIO_InitStruct.Mode = GPIO_MODE_OUTPUT_PP;
  GPIO_InitStruct.Pull = GPIO_NOPULL;
  GPIO_InitStruct.Speed = GPIO_SPEED_FREQ_LOW;
  HAL_GPIO_Init(GPIOG, &GPIO_InitStruct);

  /*Configure GPIO pin : PB14 */
  GPIO_InitStruct.Pin = GPIO_PIN_14;
  GPIO_InitStruct.Mode = GPIO_MODE_INPUT;
  GPIO_InitStruct.Pull = GPIO_NOPULL;
  HAL_GPIO_Init(GPIOB, &GPIO_InitStruct);

  /*Configure GPIO pins : PD8 PD9 PD10 PD12
                           PD4 PD5 */
  GPIO_InitStruct.Pin = GPIO_PIN_8|GPIO_PIN_9|GPIO_PIN_10|GPIO_PIN_12
                          |GPIO_PIN_4|GPIO_PIN_5;
  GPIO_InitStruct.Mode = GPIO_MODE_OUTPUT_PP;
  GPIO_InitStruct.Pull = GPIO_NOPULL;
  GPIO_InitStruct.Speed = GPIO_SPEED_FREQ_LOW;
  HAL_GPIO_Init(GPIOD, &GPIO_InitStruct);

  /*Configure GPIO pins : PG6 PG7 PG8 */
  GPIO_InitStruct.Pin = GPIO_PIN_6|GPIO_PIN_7|GPIO_PIN_8;
  GPIO_InitStruct.Mode = GPIO_MODE_INPUT;
  GPIO_InitStruct.Pull = GPIO_PULLUP;
  HAL_GPIO_Init(GPIOG, &GPIO_InitStruct);

  /*Configure GPIO pins : PC7 PC8 */
  GPIO_InitStruct.Pin = GPIO_PIN_7|GPIO_PIN_8;
  GPIO_InitStruct.Mode = GPIO_MODE_INPUT;
  GPIO_InitStruct.Pull = GPIO_PULLUP;
  HAL_GPIO_Init(GPIOC, &GPIO_InitStruct);

}

void Error_Handler(void)
{
  __disable_irq();
  while (1)
  {
  }
}
